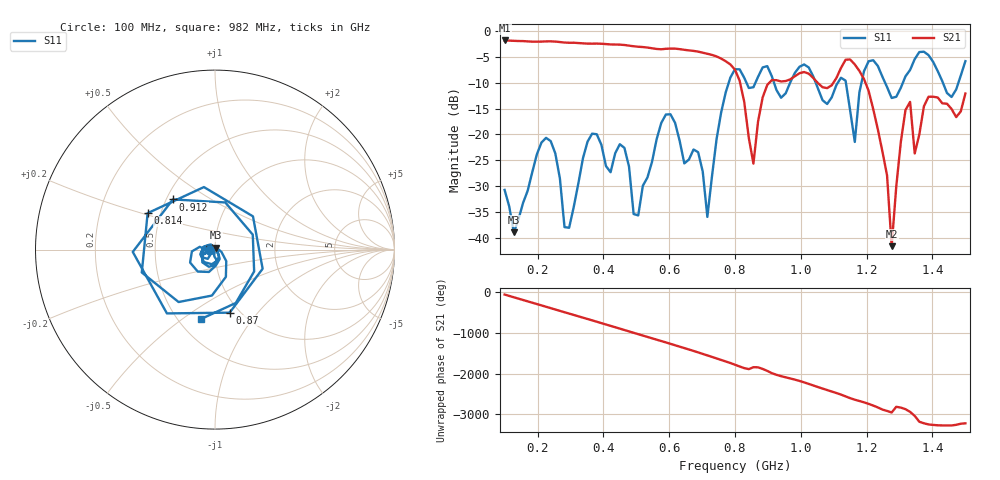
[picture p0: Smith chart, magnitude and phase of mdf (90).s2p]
! NanoVNA-App
! Date: 2025-09-25 15:39:07
! Start: 100MHz Stop: 1,5GHz Points: 101
! S-Parameter data: F S11 S21 S12 S22
# Hz S RI R 50
!  Frequency  S11_Real  S11_Imag  S21_Real  S21_Imag  S12_Real  S12_Imag  S22_Real  S22_Imag
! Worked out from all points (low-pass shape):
!   101 points, 100 MHz to 1.5 GHz, reference 50 ohm
!   highest |S21| = -1.80 dB at 100 MHz (marker M1); lowest = -41.7 dB at 1.276 GHz (marker M2)
!   |S21| within 3 dB of the highest: start of sweep to 739.5 MHz
!   lowest |S11| = -39.0 dB at 128 MHz (marker M3), VSWR 1.02, Z = 50.3 + j1.07 ohm
!   |S11| at or under -10 dB: start of sweep to 781 MHz; 1.045 GHz to 1.112 GHz (67.17 MHz wide, 6.23 % of centre); 1.256 GHz to 1.31 GHz (53.96 MHz wide, 4.21 % of centre) (the widest 3 of 7)
!   S12 and S22 are empty: the file has one direction only
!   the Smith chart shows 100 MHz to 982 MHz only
!   S11 on the Smith chart (normalised r, x): 100 MHz: 0.94, -0.01; 814 MHz: 0.42, +0.21; 870 MHz: 0.90, -0.73; 912 MHz: 0.54, +0.35; 982 MHz: 0.64, -0.59
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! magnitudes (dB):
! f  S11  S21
! 100 MHz  -30.8  -1.8
! 128 MHz  -39.0  -1.9
! 212 MHz  -21.6  -2.0
! 282 MHz  -38.0  -2.2
! 338 MHz  -24.6  -2.4
! 464 MHz  -22.6  -2.7
! 506 MHz  -35.7  -3.0
! 576 MHz  -17.8  -3.5
! 716 MHz  -36.0  -4.4
! 800 MHz  -7.4  -7.5
! 814 MHz  -7.4  -9.6
! 856 MHz  -10.9  -25.7
! 870 MHz  -8.9  -17.5
! 912 MHz  -8.8  -9.5
! 982 MHz  -8.1  -8.7
! 1.038 GHz  -8.8  -9.1
! 1.136 GHz  -9.6  -5.5
! 1.164 GHz  -21.5  -6.5
! 1.192 GHz  -7.8  -9.3
! 1.276 GHz  -13.0  -41.7
! 1.318 GHz  -8.8  -15.3
! 1.5 GHz  -5.8  -12.1
